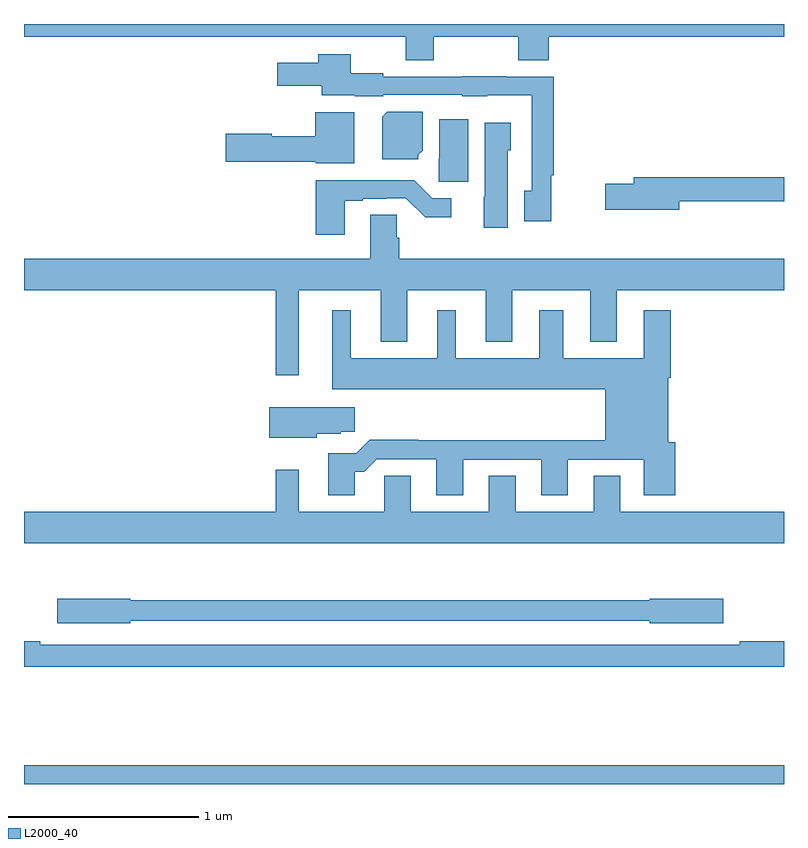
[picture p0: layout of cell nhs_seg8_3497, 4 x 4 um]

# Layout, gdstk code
import gdstk
lib = gdstk.Library(unit=1e-6, precision=1e-09)
def R(c, l, rs):  # rectangles x0, y0, x1, y1
    for r in rs: c.add(gdstk.rectangle(r[:2], r[2:], *l))
def P(c, l, *ps):  # polygons
    for p in ps: c.add(gdstk.Polygon(p, *l))
L2000_40 = (2000, 40)

nhs_seg8_3497 = lib.new_cell('nhs_seg8_3497')
R(nhs_seg8_3497, L2000_40, [(327,1113.9,331,1114)])
P(nhs_seg8_3497, L2000_40, [(327,1117.832),(329.009,1117.832),(329.009,1117.708),(329.157,1117.708),(329.157,1117.832),(329.602,1117.832),(329.602,1117.708),(329.762,1117.708),(329.762,1117.832),(331,1117.832),(331,1117.9),(327,1117.9)],
  [(329.774,1117.105),(329.789,1117.105),(329.789,1117.623),(329.539,1117.623),(329.539,1117.625),(329.307,1117.625),(329.307,1117.623),(328.89,1117.623),(328.89,1117.642),(328.72,1117.642),(328.72,1117.741),(328.549,1117.741),(328.549,1117.696),(328.332,1117.696),(328.332,1117.574),(328.568,1117.574),(328.568,1117.526),(328.74,1117.526),(328.74,1117.52),(328.89,1117.52),(328.89,1117.527),(329.307,1117.527),(329.307,1117.52),(329.439,1117.52),(329.439,1117.526),(329.673,1117.526),(329.673,1117.022),(329.633,1117.022),(329.633,1116.861),(329.774,1116.861)],
  [(329.076,1117.212),(329.098,1117.234),(329.098,1117.438),(328.912,1117.438),(328.886,1117.412),(328.886,1117.187),(329.076,1117.187)],
  [(328.738,1117.436),(328.532,1117.436),(328.532,1117.309),(328.305,1117.309),(328.305,1117.322),(328.062,1117.322),(328.062,1117.175),(328.536,1117.175),(328.536,1117.166),(328.738,1117.166)],
  [(329.338,1117.399),(329.186,1117.399),(329.186,1117.194),(329.182,1117.194),(329.182,1117.071),(329.338,1117.071)],
  [(329.545,1117.236),(329.563,1117.236),(329.563,1117.381),(329.426,1117.381),(329.426,1116.99),(329.42,1116.99),(329.42,1116.828),(329.545,1116.828)],
  [(330.448,1116.966),(331,1116.966),(331,1117.094),(330.209,1117.094),(330.209,1117.058),(330.06,1117.058),(330.06,1116.923),(330.448,1116.923)],
  [(328.687,1116.969),(328.783,1116.969),(328.783,1116.981),(328.91,1116.981),(328.91,1116.984),(329.01,1116.984),(329.113,1116.882),(329.248,1116.882),(329.248,1116.984),(329.148,1116.984),(329.054,1117.078),(328.535,1117.078),(328.535,1116.792),(328.687,1116.792)],
  [(328.447,1116.5),(328.877,1116.5),(328.877,1116.227),(329.017,1116.227),(329.017,1116.5),(329.429,1116.5),(329.429,1116.227),(329.569,1116.227),(329.569,1116.5),(329.981,1116.5),(329.981,1116.227),(330.121,1116.227),(330.121,1116.5),(331,1116.5),(331,1116.664),(328.976,1116.664),(328.976,1116.774),(328.962,1116.774),(328.962,1116.896),(328.823,1116.896),(328.823,1116.664),(327,1116.664),(327,1116.5),(328.326,1116.5),(328.326,1116.051),(328.447,1116.051)],
  [(328.741,1115.543),(328.79,1115.543),(328.857,1115.61),(329.171,1115.61),(329.171,1115.421),(329.311,1115.421),(329.311,1115.607),(329.723,1115.607),(329.723,1115.421),(329.863,1115.421),(329.863,1115.607),(330.263,1115.607),(330.263,1115.421),(330.428,1115.421),(330.428,1115.7),(330.391,1115.7),(330.391,1116.038),(330.404,1116.038),(330.404,1116.394),(330.263,1116.394),(330.263,1116.142),(329.839,1116.142),(329.839,1116.394),(329.711,1116.394),(329.711,1116.142),(329.272,1116.142),(329.272,1116.394),(329.174,1116.394),(329.174,1116.142),(328.72,1116.142),(328.72,1116.394),(328.622,1116.394),(328.622,1115.978),(330.059,1115.978),(330.059,1115.708),(329.075,1115.708),(329.075,1115.711),(328.82,1115.711),(328.749,1115.64),(328.601,1115.64),(328.601,1115.421),(328.741,1115.421)],
  [(328.542,1115.744),(328.668,1115.744),(328.668,1115.755),(328.741,1115.755),(328.741,1115.884),(328.292,1115.884),(328.292,1115.723),(328.542,1115.723)],
  [(331,1115.332),(330.139,1115.332),(330.139,1115.522),(329.999,1115.522),(329.999,1115.332),(329.587,1115.332),(329.587,1115.522),(329.447,1115.522),(329.447,1115.332),(329.035,1115.332),(329.035,1115.522),(328.896,1115.522),(328.896,1115.332),(328.447,1115.332),(328.447,1115.554),(328.326,1115.554),(328.326,1115.332),(327,1115.332),(327,1115.168),(331,1115.168)],
  [(327.558,1114.758),(330.294,1114.758),(330.294,1114.745),(330.679,1114.745),(330.679,1114.875),(330.294,1114.875),(330.294,1114.867),(327.558,1114.867),(327.558,1114.875),(327.174,1114.875),(327.174,1114.745),(327.558,1114.745)],
  [(331,1114.652),(330.766,1114.652),(330.766,1114.632),(327.086,1114.632),(327.086,1114.652),(327,1114.652),(327,1114.516),(331,1114.516)])

lib.write_gds('nhs_seg8_3497.gds')
